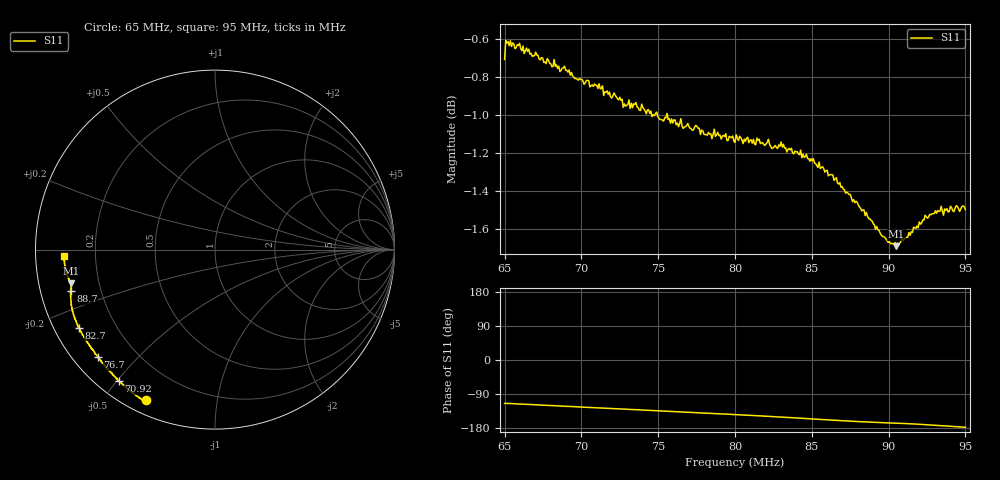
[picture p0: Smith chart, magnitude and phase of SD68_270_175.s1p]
! NanoVNA-App
! Date: 2025-08-09 13:39:53
! Start: 65MHz Stop: 95MHz Points: 401
! S-Parameter data: F S11
# Hz S RI R 50
!  Frequency  S11_Real  S11_Imag
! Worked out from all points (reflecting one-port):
!   401 points, 65 MHz to 95 MHz, reference 50 ohm
!   lowest |S11| = -1.7 dB at 90.5 MHz (marker M1), VSWR 10.30, Z = 4.92 - j5.74 ohm
!   phase of S11 starts at -115 deg and turns -63 deg over the sweep
!   S11 on the Smith chart (normalised r, x): 65 MHz: 0.06, -0.64; 70.92 MHz: 0.06, -0.51; 76.7 MHz: 0.07, -0.39; 82.7 MHz: 0.07, -0.27; 88.7 MHz: 0.09, -0.14; 95 MHz: 0.09, -0.02
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6.5e7  -0.3842 -0.8379
6.5225e7  -0.3901 -0.8463
6.545e7  -0.3937 -0.8416
6.6275e7  -0.4171 -0.8257
6.875e7  -0.4835 -0.7791
7.0925e7  -0.5352 -0.7331
7.25e7  -0.5708 -0.697
7.4225e7  -0.6044 -0.6558
7.625e7  -0.6426 -0.6113
7.67e7  -0.6531 -0.5968
7.7525e7  -0.6683 -0.5802
8e7  -0.7116 -0.5118
8.165e7  -0.7397 -0.469
8.27e7  -0.7577 -0.4351
8.3075e7  -0.7626 -0.4271
8.375e7  -0.7716 -0.404
8.5625e7  -0.7936 -0.3396
8.645e7  -0.7992 -0.3083
8.75e7  -0.804 -0.2736
8.87e7  -0.804 -0.2323
8.96e7  -0.8018 -0.2063
9.05e7  -0.8012 -0.1881
9.125e7  -0.8093 -0.1729
9.1775e7  -0.8167 -0.1587
9.245e7  -0.8269 -0.1357
9.3275e7  -0.8343 -0.1026
9.4625e7  -0.839 -0.0505
9.5e7  -0.8407 -0.0357
